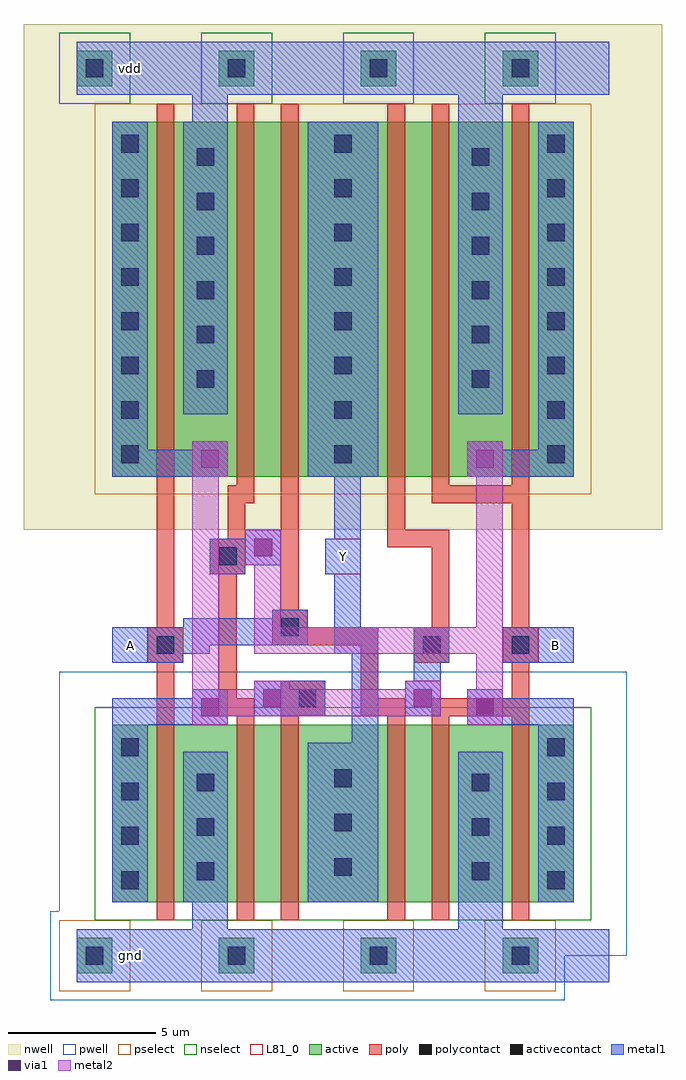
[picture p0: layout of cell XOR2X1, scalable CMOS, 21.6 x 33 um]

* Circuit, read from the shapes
.subckt XOR2X1 A B Y gnd vdd
M1 gnd A n1 gnd nfet w=6u l=0.6u
M2 n2 n3 gnd gnd nfet w=6u l=0.6u
M3 Y n1 n2 gnd nfet w=6u l=0.6u
M4 n4 A Y gnd nfet w=6u l=0.6u
M5 gnd B n4 gnd nfet w=6u l=0.6u
M6 n3 B gnd gnd nfet w=6u l=0.6u
M7 vdd A n1 vdd pfet w=12u l=0.6u
M8 n5 n3 vdd vdd pfet w=12u l=0.6u
M9 Y A n5 vdd pfet w=12u l=0.6u
M10 n6 n1 Y vdd pfet w=12u l=0.6u
M11 vdd B n6 vdd pfet w=12u l=0.6u
M12 n3 B vdd vdd pfet w=12u l=0.6u
.ends

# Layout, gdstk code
import gdstk
lib = gdstk.Library(unit=1e-6, precision=1e-09)
def R(c, l, rs):  # rectangles x0, y0, x1, y1
    for r in rs: c.add(gdstk.rectangle(r[:2], r[2:], *l))
def A(c, l, x, y, w, h, nx, ny, dx, dy):  # array of equal rectangles
    R(c, l, [(x+i*dx, y+j*dy, x+i*dx+w, y+j*dy+h) for i in range(nx) for j in range(ny)])
pwell = (41, 0)
nwell = (42, 0)
active = (43, 0)
pselect = (44, 0)
nselect = (45, 0)
poly = (46, 0)
polycontact = (47, 0)
activecontact = (48, 0)
metal1 = (49, 0)
via1 = (50, 0)
metal2 = (51, 0)
L81_0 = (81, 0)

xor2x1 = lib.new_cell('XOR2X1')
R(xor2x1, pwell, [(-1.5,-1.5,15.9,0), (-1.5,0,18,1.5), (-1.2,1.5,18,9.6)])
R(xor2x1, nwell, [(-2.4,14.4,19.2,31.5)])
A(xor2x1, active, -0.6, -0.6, 1.2, 1.2, 4, 2, 4.8, 30)
R(xor2x1, active, [(0.6,1.8,16.2,7.8), (0.6,16.2,16.2,28.2)])
A(xor2x1, pselect, -1.2, -1.2, 2.4, 2.4, 4, 1, 4.8, 0)
R(xor2x1, pselect, [(0,15.6,16.8,28.8)])
A(xor2x1, nselect, -1.2, 28.8, 2.4, 2.4, 4, 1, 4.8, 0)
R(xor2x1, nselect, [(0,1.2,16.8,8.4)])
R(xor2x1, poly, [(2.1,1.2,2.7,9.9), (4.8,1.2,5.4,8.1), (6.3,1.2,6.9,8.1), (9.9,1.2,10.5,8.1), (11.4,1.2,12,8.1), (14.1,1.2,14.7,8.1), (4.2,8.1,5.4,8.7), (6.3,8.1,7.8,9.3), (9,8.1,10.5,8.7), (11.4,8.1,14.7,8.7), (4.2,8.7,4.8,12.9), (9,8.7,9.6,10.5), (14.1,8.7,14.7,9.9), (1.8,9.9,3,11.1), (10.8,9.9,12,11.1), (13.8,9.9,15,11.1), (6,10.5,9.6,11.1), (2.1,11.1,2.7,28.8), (6,11.1,7.2,11.7), (11.4,11.1,12,13.8), (14.1,11.1,14.7,15.3), (6.3,11.7,6.9,28.8), (3.9,12.9,5.1,14.1), (9.9,13.8,12,14.4), (4.5,14.1,5.1,15.3), (9.9,14.4,10.5,28.8), (4.5,15.3,5.4,15.9), (11.4,15.3,14.7,15.9), (4.8,15.9,5.4,28.8), (11.4,15.9,12,28.8), (14.1,15.9,14.7,28.8)])
R(xor2x1, polycontact, [(6.9,8.4,7.5,9), (2.1,10.2,2.7,10.8), (11.1,10.2,11.7,10.8), (14.1,10.2,14.7,10.8), (6.3,10.8,6.9,11.4), (4.2,13.2,4.8,13.8)])
A(xor2x1, activecontact, -0.3, -0.3, 0.6, 0.6, 4, 2, 4.8, 30)
A(xor2x1, activecontact, 0.9, 2.25, 0.6, 0.6, 1, 4, 0, 1.5)
A(xor2x1, activecontact, 15.3, 2.25, 0.6, 0.6, 1, 4, 0, 1.5)
A(xor2x1, activecontact, 3.45, 2.55, 0.6, 0.6, 1, 3, 0, 1.5)
A(xor2x1, activecontact, 12.75, 2.55, 0.6, 0.6, 1, 3, 0, 1.5)
A(xor2x1, activecontact, 8.1, 2.7, 0.6, 0.6, 1, 3, 0, 1.5)
A(xor2x1, activecontact, 0.9, 16.65, 0.6, 0.6, 3, 8, 7.2, 1.5)
A(xor2x1, activecontact, 3.45, 19.2, 0.6, 0.6, 1, 6, 0, 1.5)
A(xor2x1, activecontact, 12.75, 19.2, 0.6, 0.6, 1, 6, 0, 1.5)
R(xor2x1, metal1, [(-0.6,-0.9,17.4,0.9), (3.3,0.9,4.5,1.8), (12.3,0.9,13.8,6.9), (0.6,1.8,1.8,7.8), (3,1.8,4.5,6.9), (7.2,1.8,9.6,7.2), (15,1.8,16.2,7.8), (8.7,7.2,9.6,10.2), (0.6,7.8,4.5,8.7), (12.6,7.8,16.2,8.7), (5.4,8.1,7.8,9.3), (10.5,8.1,11.7,9.3), (3.3,8.7,4.5,9), (12.6,8.7,13.8,9), (10.8,9.3,11.7,9.9), (0.6,9.9,3,10.2), (10.8,9.9,12,11.1), (13.8,9.9,16.2,11.1), (0.6,10.2,3.9,10.5), (8.1,10.2,9.6,11.1), (0.6,10.5,7.2,11.1), (3,11.1,7.2,11.4), (8.1,11.1,9,12.9), (6,11.4,7.2,11.7), (3.9,12.9,5.1,13.2), (7.8,12.9,9,14.1), (3.9,13.2,6.3,14.1), (5.1,14.1,6.3,14.4), (8.1,14.1,9,16.2), (0.6,16.2,4.5,17.1), (7.2,16.2,9.6,28.2), (12.6,16.2,16.2,17.1), (0.6,17.1,1.8,28.2), (3.3,17.1,4.5,17.4), (12.6,17.1,13.8,17.4), (15,17.1,16.2,28.2), (3,18.3,4.5,28.2), (12.3,18.3,13.8,29.1), (3.3,28.2,4.5,29.1), (-0.6,29.1,17.4,30.9)])
R(xor2x1, via1, [(3.6,8.1,4.2,8.7), (12.9,8.1,13.5,8.7), (5.7,8.4,6.3,9), (10.8,8.4,11.4,9), (5.4,13.5,6,14.1), (3.6,16.5,4.2,17.1), (12.9,16.5,13.5,17.1)])
R(xor2x1, metal2, [(3.3,7.8,4.5,8.1), (12.6,7.8,13.8,9), (3.3,8.1,11.7,9), (3.3,9,4.2,16.2), (5.4,9,6.6,9.3), (10.5,9,11.7,9.3), (12.9,9,13.8,10.2), (5.4,10.2,13.8,11.1), (5.4,11.1,6.3,13.2), (12.9,11.1,13.8,16.2), (5.1,13.2,6.3,14.4), (3.3,16.2,4.5,17.4), (12.6,16.2,13.8,17.4)])
R(xor2x1, L81_0, [(0.6,9.9,1.8,11.1), (15,9.9,16.2,11.1), (7.8,12.9,9,14.1)])
xor2x1.add(gdstk.Label('Y', (8.4,13.5), layer=49, texttype=0))
xor2x1.add(gdstk.Label('vdd', (1.2,30), layer=49, texttype=0))
xor2x1.add(gdstk.Label('B', (15.6,10.5), layer=49, texttype=0))
xor2x1.add(gdstk.Label('A', (1.2,10.5), layer=49, texttype=0))
xor2x1.add(gdstk.Label('gnd', (1.2,0), layer=49, texttype=0))

lib.write_gds('XOR2X1.gds')
